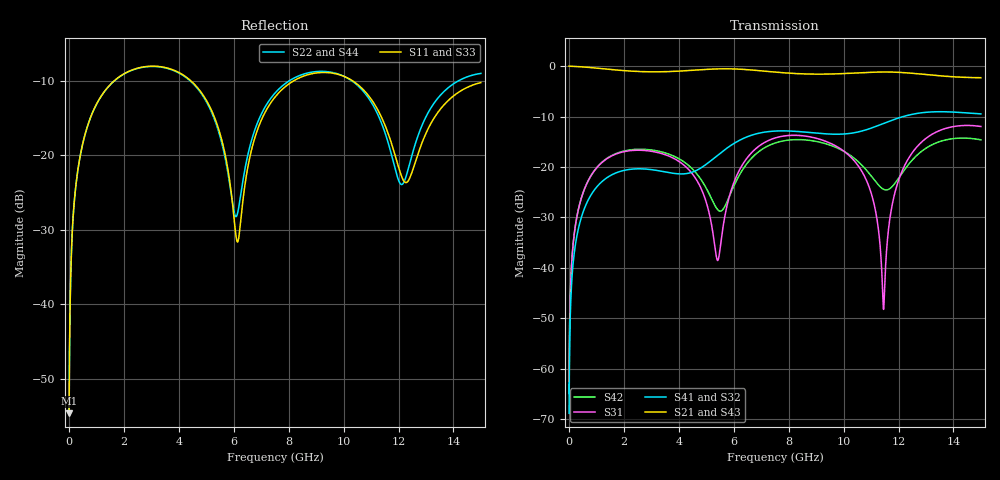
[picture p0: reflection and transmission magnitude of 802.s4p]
! Created with skrf 1.8.0 (http://scikit-rf.org).
# GHz S RI R 50.0
!freq ReS11 ImS11 ReS12 ImS12 ReS13 ImS13
! ReS14 ImS14
! ReS21 ImS21 ReS22 ImS22 ReS23 ImS23
! ReS24 ImS24
! ReS31 ImS31 ReS32 ImS32 ReS33 ImS33
! ReS34 ImS34
! ReS41 ImS41 ReS42 ImS42 ReS43 ImS43
! ReS44 ImS44
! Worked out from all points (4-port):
!   2499 points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, 5 MHz to 15 GHz, reference 50 ohm
!   strongest paths, dB at 5 MHz, 3.476 GHz, 7.19 GHz, 11.1 GHz, 15 GHz:
!     S21: 0.0, -1.1, -1.0, -1.2, -2.3
!     S43: 0.0, -1.1, -1.0, -1.2, -2.3
!     S41: -68.8, -20.9, -13.0, -12.1, -9.5
!     S32: -68.8, -21.0, -13.1, -12.1, -9.6
!     S31: -64.9, -17.5, -14.9, -27.0, -12.0
!     S42: -64.9, -17.2, -16.0, -22.4, -14.6
!   lowest |S11| = -54.6 dB at 5 MHz (marker M1), VSWR 1.00, Z = 50.1 + j0.113 ohm
!   |S11| at or under -10 dB: start of sweep to 1.641 GHz; 4.445 GHz to 8.172 GHz (3.727 GHz wide, 59.1 % of centre); 10.34 GHz to end of sweep
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0.005  0.00147 0.00112  0.9985 -0.00287  7.27e-05 0.000562  -7.08e-05 -0.000356
       0.9985 -0.00287  0.00147 0.00112  -7.08e-05 -0.000356  7.28e-05 0.000562
       7.27e-05 0.000562  -7.08e-05 -0.000356  0.00147 0.00112  0.9985 -0.00287
       -7.08e-05 -0.000356  7.28e-05 0.000562  0.9985 -0.00287  0.00147 0.00112
0.3126303  0.0201 0.0745  0.9727 -0.1792  0.00859 0.0338  -0.00732 -0.0212
           0.9727 -0.1792  0.02 0.0745  -0.00732 -0.0212  0.00889 0.0337
           0.00859 0.0338  -0.00732 -0.0212  0.0201 0.0745  0.9727 -0.1792
           -0.00732 -0.0212  0.00889 0.0337  0.9727 -0.1792  0.02 0.0745
1.569404  0.2425 0.1891  0.6099 -0.6927  0.11 0.0682  -0.0825 -0.0157
          0.6099 -0.6927  0.2413 0.1897  -0.0824 -0.0159  0.1144 0.063
          0.11 0.0682  -0.0824 -0.0159  0.2426 0.1891  0.6099 -0.6927
          -0.0825 -0.0157  0.1144 0.063  0.6099 -0.6927  0.2412 0.1898
5.908712  0.0289 -0.0483  -0.9266 -0.154  0.0171 0.0565  -0.0235 0.1629
          -0.9266 -0.154  0.0403 -0.0371  -0.0263 0.1625  -0.0334 0.0457
          0.0171 0.0565  -0.0263 0.1625  0.0289 -0.0482  -0.9266 -0.1541
          -0.0235 0.1629  -0.0334 0.0457  -0.9266 -0.1541  0.0404 -0.0372
9.516465  0.3566 -0.0391  0.0286 0.8342  0.1476 -0.0885  0.1978 -0.0764
          0.0286 0.8342  0.3584 -0.0564  0.1978 -0.0696  0.141 -0.0847
          0.1476 -0.0885  0.1978 -0.0696  0.3587 -0.0419  0.0285 0.8338
          0.1978 -0.0764  0.141 -0.0847  0.0285 0.8338  0.3584 -0.0539
11.45477  0.1148 -0.123  0.7407 0.4642  -0.00386 -0.000401  0.1327 -0.2355
          0.7407 0.4642  0.1021 -0.1121  0.1415 -0.2301  -0.0542 -0.0261
          -0.00386 -0.000401  0.1415 -0.2301  0.1146 -0.1267  0.7398 0.4648
          0.1327 -0.2355  -0.0542 -0.0261  0.7398 0.4648  0.1061 -0.1129
15  0.3042 0.0512  0.2781 -0.7154  0.232 -0.0986  -0.3344 -0.0339
    0.2781 -0.7154  0.3551 0.0151  -0.3279 -0.0483  0.1837 -0.0286
    0.232 -0.0986  -0.3279 -0.0483  0.3059 0.0434  0.2789 -0.7169
    -0.3344 -0.0339  0.1837 -0.0286  0.2789 -0.7169  0.3463 0.0187
